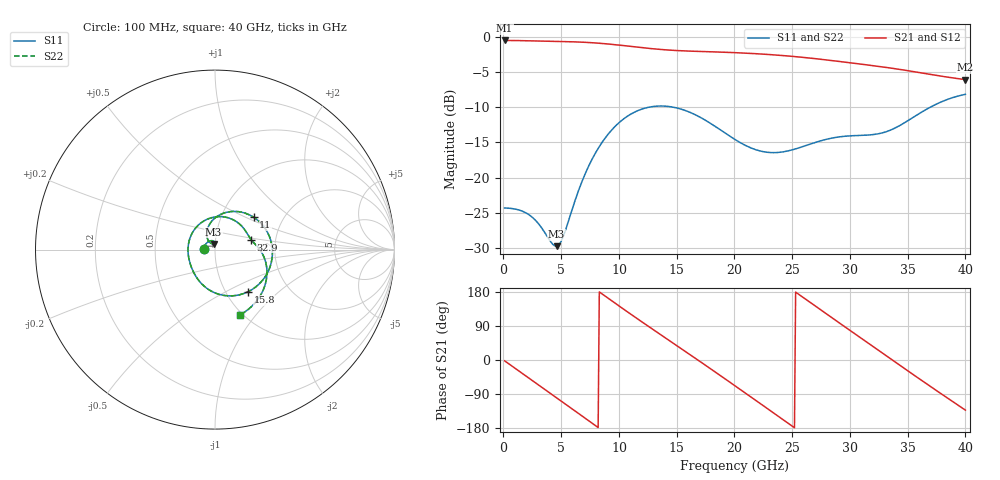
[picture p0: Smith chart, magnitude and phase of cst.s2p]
! D_s8_stitch_0p5: L1 (ref L2) → L8 (ref L7), one GND via at 0.5 mm
! stackup: 8-layer 1.6 mm FR-4 (generic)
! ports: 1, 2
! CST Studio Suite 2025.5 Release from 2025-05-30, time domain (FIT, hexahedral, PBA), 233064 mesh cells, 45 s
! mesh: {'lpw': 20, 'lpb': 20, 'minstep': 0.0, 'ratio': 20}; ports: port 1 (face); port 2 (face)
! interpolated from CST's 1001 samples to the case grid
# Hz S RI R 50
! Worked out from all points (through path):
!   400 points, 100 MHz to 40 GHz, reference 50 ohm
!   highest |S21| = -0.55 dB at 100 MHz (marker M1); lowest = -6.1 dB at 40 GHz (marker M2)
!   group delay of S21, straight-line fit = 59.2 ps
!   lowest |S11| = -29.7 dB at 4.6 GHz (marker M3), VSWR 1.07, Z = 49.1 + j3.1 ohm
!   |S11| at or under -10 dB: start of sweep to 12.65 GHz; 14.65 GHz to 36.98 GHz (22.33 GHz wide, 86.5 % of centre)
!   |S22| runs from -29.7 to -8.2 dB; largest |S21 - S12| = 4.5e-07
!   S11 on the Smith chart (normalised r, x): 100 MHz: 0.89, +0.01; 11 GHz: 1.42, +0.56; 15.8 GHz: 1.26, -0.65; 32.9 GHz: 1.49, +0.17; 40 GHz: 0.97, -0.83
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1e8  -0.0608 0.00342  0.9377 -0.0357  0.9377 -0.0357  -0.0608 0.00342
1.3e9  -0.0448 0.0385  0.8243 -0.4441  0.8243 -0.4441  -0.0448 0.0385
2.6e9  -0.0141 0.0495  0.5142 -0.7769  0.5142 -0.7769  -0.0141 0.0495
4.6e9  -0.00827 0.0316  -0.1562 -0.9107  -0.1562 -0.9107  -0.00827 0.0316
6.8e9  -0.046 0.0818  -0.7706 -0.489  -0.7706 -0.489  -0.046 0.0818
8.8e9  0.019 0.1895  -0.8726 0.174  -0.8726 0.174  0.0191 0.1895
1.1e10  0.2157 0.1802  -0.4443 0.7269  -0.4443 0.7269  0.2157 0.1802
1.34e10  0.3188 -0.0417  0.2619 0.7696  0.2619 0.7696  0.3188 -0.0417
1.58e10  0.1825 -0.2356  0.7351 0.2903  0.7351 0.2903  0.1825 -0.2356
1.78e10  0.0121 -0.2458  0.7321 -0.2707  0.7321 -0.2707  0.0121 -0.2458
2.01e10  -0.1037 -0.1534  0.2738 -0.7182  0.2738 -0.7182  -0.1037 -0.1534
2.19e10  -0.1407 -0.0701  -0.2296 -0.7199  -0.2296 -0.7199  -0.1407 -0.0701
2.38e10  -0.1483 0.0276  -0.6296 -0.3847  -0.6296 -0.3847  -0.1483 0.0276
2.52e10  -0.1189 0.1055  -0.7214 -0.0156  -0.7214 -0.0156  -0.1189 0.1055
2.67e10  -0.0452 0.1683  -0.6009 0.3621  -0.6009 0.3621  -0.0452 0.1683
2.82e10  0.0496 0.1822  -0.3055 0.6069  -0.3055 0.6069  0.0497 0.1822
2.96e10  0.1238 0.1527  0.0369 0.6571  0.0369 0.6571  0.1238 0.1527
3.29e10  0.2011 0.0552  0.5832 0.1718  0.5832 0.1718  0.2011 0.0552
3.34e10  0.2108 0.0439  0.5971 0.0601  0.5971 0.0601  0.2108 0.0438
3.49e10  0.2498 -0.000626  0.5161 -0.2538  0.5161 -0.2538  0.2498 -0.000666
3.68e10  0.2892 -0.1131  0.2187 -0.496  0.2187 -0.496  0.2892 -0.1132
4e10  0.1386 -0.364  -0.3336 -0.3662  -0.3336 -0.3662  0.1385 -0.3641
